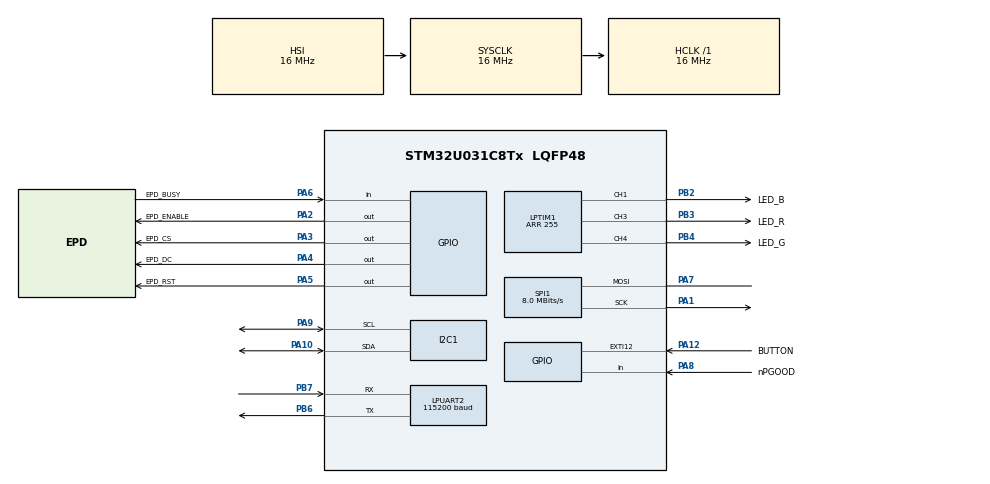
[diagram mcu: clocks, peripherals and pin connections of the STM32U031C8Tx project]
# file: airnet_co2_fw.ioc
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ADC1.Channel-0\#ChannelRegularConversion=ADC_CHANNEL_VBAT
ADC1.Channel-1\#ChannelRegularConversion=ADC_CHANNEL_VREFINT
ADC1.NbrOfConversion=2
ADC1.NbrOfConversionFlag=1
ADC1.Rank-0\#ChannelRegularConversion=1
ADC1.Rank-1\#ChannelRegularConversion=2
ADC1.RankArg-0\#ChannelRegularConversion=ADC_REGULAR_RANK_1
ADC1.RankArg-1\#ChannelRegularConversion=ADC_REGULAR_RANK_2
ADC1.SamplingTime-0\#ChannelRegularConversion=ADC_SAMPLINGTIME_COMMON_1
ADC1.SamplingTime-1\#ChannelRegularConversion=ADC_SAMPLINGTIME_COMMON_2
ADC1.SamplingTimeCommon1=ADC_SAMPLETIME_160CYCLES_5
ADC1.SamplingTimeCommon2=ADC_SAMPLETIME_160CYCLES_5
ADC1.SelectedChannel=ADC_CHANNEL_VREFINT|ADC_CHANNEL_VBAT
ADC1.master=1
I2C1.Timing=0x00303D5B
LPTIM1.ClockPrescaler=LPTIM_PRESCALER_DIV1
LPTIM1.OCPolarity_1=LPTIM_OCPOLARITY_LOW
LPTIM1.OCPolarity_3=LPTIM_OCPOLARITY_LOW
LPTIM1.OCPolarity_4=LPTIM_OCPOLARITY_LOW
LPTIM1.OCPulse_1=25
LPTIM1.OCPulse_3=25
LPTIM1.OCPulse_4=25
LPTIM1.Period=255
LPUART2.BaudRate=115200
Mcu.Family=STM32U0
Mcu.Name=STM32U031C8Tx
Mcu.Package=LQFP48
NVIC.EXTI4_15_IRQn=true\:0\:0\:false\:false\:true\:true\:true\:true
NVIC.PriorityGroup=NVIC_PRIORITYGROUP_2
NVIC.RTC_TAMP_IRQn=true\:0\:0\:false\:false\:true\:true\:true\:true
PA1.Mode=Simplex_Bidirectional_Master
PA1.Signal=SPI1_SCK
PA10.Mode=I2C
PA10.Signal=I2C1_SDA
PA12\ [PA10].GPIO_Label=BUTTON
PA12\ [PA10].GPIO_ModeDefaultEXTI=GPIO_MODE_IT_RISING_FALLING
PA12\ [PA10].Signal=GPXTI12
PA13\ (SWDIO).Mode=Serial_Wire
PA13\ (SWDIO).Signal=DEBUG_JTMS-SWDIO
PA14\ (SWCLK).Mode=Serial_Wire
PA14\ (SWCLK).Signal=DEBUG_JTCK-SWCLK
PA2.GPIO_Label=EPD_ENABLE
PA2.Signal=GPIO_Output
PA3.GPIO_Label=EPD_CS
PA3.Signal=GPIO_Output
PA4.GPIO_Label=EPD_DC
PA4.Signal=GPIO_Output
PA5.GPIO_Label=EPD_RST
PA5.Signal=GPIO_Output
PA6.GPIO_Label=EPD_BUSY
PA6.Signal=GPIO_Input
PA7.Mode=Simplex_Bidirectional_Master
PA7.Signal=SPI1_MOSI
PA8.GPIO_Label=nPGOOD
PA8.Signal=GPIO_Input
PA9.Mode=I2C
PA9.Signal=I2C1_SCL
PB2.GPIO_Label=LED_B
PB2.Signal=S_LPTIM1_CH1
PB3.GPIO_Label=LED_R
PB3.Signal=S_LPTIM1_CH3
PB4.GPIO_Label=LED_G
PB4.Signal=S_LPTIM1_CH4
PB6.Mode=Asynchronous
PB6.Signal=LPUART2_TX
PB7.Mode=Asynchronous
PB7.Signal=LPUART2_RX
ProjectManager.HeapSize=0x200
ProjectManager.StackSize=0x400
ProjectManager.TargetToolchain=Makefile
RCC.AHBFreq_Value=16000000
RCC.CortexFreq_Value=16000000
RCC.HCLKFreq_Value=16000000
RCC.HSE_VALUE=4000000
RCC.HSI48_VALUE=48000000
RCC.HSI_VALUE=16000000
RCC.LPTIM1CLockSelection=RCC_LPTIM1CLKSOURCE_LSI
RCC.LSE_VALUE=32768
RCC.MSI_VALUE=4000000
RCC.SYSCLKFreq_VALUE=16000000
RCC.VCOOutputFreq_Value=64000000
RTC.BinMode=RTC_BINARY_ONLY
RTC.WakeUpClock-WakeUp=RTC_WAKEUPCLOCK_CK_SPRE_16BITS
SH.S_LPTIM1_CH1.0=LPTIM1_CH1,OutputIO_CH1
SH.S_LPTIM1_CH3.0=LPTIM1_CH3,OutputIO_CH3
SH.S_LPTIM1_CH4.0=LPTIM1_CH4,OutputIO_CH4
SPI1.BaudRatePrescaler=SPI_BAUDRATEPRESCALER_2
SPI1.CalculateBaudRate=8.0 MBits/s
SPI1.DataSize=SPI_DATASIZE_8BIT
SPI1.Direction=SPI_DIRECTION_1LINE
SPI1.Mode=SPI_MODE_MASTER
SPI1.VirtualType=VM_MASTER
VP_ADC1_Vbat_Input.Mode=IN-Vbat
VP_ADC1_Vref_Input.Mode=IN-Vrefint
VP_LPTIM1_VS_CH1.Mode=Channel_1_Active
VP_LPTIM1_VS_CH3.Mode=Channel_3_Active
VP_LPTIM1_VS_CH4.Mode=Channel_4_Active
VP_LPTIM1_VS_LPTIM_counterModeInternalClock.Mode=Counts__internal_clock_event_00
VP_PWR_VS_SECSignals.Mode=Security/Privilege
VP_RTC_VS_RTC_Activate.Mode=RTC_Enabled
VP_RTC_VS_RTC_WakeUp_intern.Mode=WakeUp
board=custom

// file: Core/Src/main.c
/* USER CODE BEGIN Header */
/**
  ******************************************************************************
  * @file           : main.c
  * @brief          : Main program body
  ******************************************************************************
  * @attention
  *
  * Copyright (c) 2026 STMicroelectronics.
  * All rights reserved.
  *
  * This software is licensed under terms that can be found in the LICENSE file
  * in the root directory of this software component.
  * If no LICENSE file comes with this software, it is provided AS-IS.
  *
  ******************************************************************************
  */
/* USER CODE END Header */
#include "main.h"

/* USER CODE BEGIN Includes */
#include <stdio.h>

#include "skin.h"
#include "menu.h"
#include "button_menu.h"
#include "rgb_led.h"

#include "stcc4_i2c.h"
#include "sensirion_i2c_hal.h"
#include "sensirion_common.h"

#include "EPD_1in54_V2.h"
#include "GUI_Paint.h"

/* USER CODE END Includes */

ADC_HandleTypeDef hadc1;

I2C_HandleTypeDef hi2c1;

LPTIM_HandleTypeDef hlptim1;

UART_HandleTypeDef hlpuart2;

RTC_HandleTypeDef hrtc;

SPI_HandleTypeDef hspi1;

/* USER CODE BEGIN PV */

volatile uint32_t g_ts_ms_last_button_pressed = 0;
volatile uint32_t g_ts_ms_previous_button_pressed = 0;
volatile int g_button_pressed_flag = 0;
volatile struct button_fsm g_button_fsm;
uint16_t g_co2_ppm = 0;

uint8_t gImage[5000];

/* USER CODE END PV */

void SystemClock_Config(void);
static void MX_GPIO_Init(void);
static void MX_ADC1_Init(void);
static void MX_I2C1_Init(void);
static void MX_RTC_Init(void);
static void MX_SPI1_Init(void);
static void MX_LPUART2_UART_Init(void);
static void MX_LPTIM1_Init(void);

/* USER CODE BEGIN 0 */

#ifdef DEBUG_PRINT
int __io_putchar(int ch)
{
  HAL_UART_Transmit(&hlpuart2, (uint8_t *) &ch, 1, 1000);
  return ch;
}
#endif  /* DEBUG_PRINT */

void set_refresh_rate(int refresh_rate_sec)
{
  HAL_RTCEx_DeactivateWakeUpTimer(&hrtc);

  printf("Setting RTC wake up to %d seconds\n", refresh_rate_sec);
  HAL_RTCEx_SetWakeUpTimer_IT(&hrtc, refresh_rate_sec - 1,
                              RTC_WAKEUPCLOCK_CK_SPRE_16BITS, 0);
}

void led_all_off(void)
{
  rgb_led_off();
}

static void led_roll(int per_led_delay_ms, int iterations)
{
  for (int i = 0 ; i < iterations ; i++) {
    rgb_led_set_color(255, 0, 0);
    HAL_Delay(per_led_delay_ms);
    rgb_led_set_color(0, 255, 0);
    HAL_Delay(per_led_delay_ms);
    rgb_led_set_color(0, 0, 255);
    HAL_Delay(per_led_delay_ms);
    rgb_led_off();
  }
}

static inline void epd_power_on(void)
{
#ifndef DEBUG_NO_EPD
  HAL_GPIO_WritePin(EPD_ENABLE_GPIO_Port, EPD_ENABLE_Pin, GPIO_PIN_SET);
#endif  /* not DEBUG_NO_EPD */
}

static inline void epd_power_off(void)
{
#ifndef DEBUG_NO_EPD
  HAL_GPIO_WritePin(EPD_ENABLE_GPIO_Port, EPD_ENABLE_Pin, GPIO_PIN_RESET);
#endif  /* not DEBUG_NO_EPD */
}

static void epd_wait_busy_led(void)
{
  /* LOW: idle, HIGH: busy */
  while(HAL_GPIO_ReadPin(EPD_BUSY_GPIO_Port, EPD_BUSY_Pin) == 1) {
      led_roll(100, 1);
  }
}

uint32_t rtc_get_tick(void)
{
  RTC_TimeTypeDef time;
  if (HAL_RTC_GetTime(&hrtc, &time, 0) != HAL_OK) {
    printf("Error get time\n");
  }
  return UINT32_MAX - time.SubSeconds;
}

uint32_t rtc_ticks_to_ms(uint32_t ticks)
{
  return ticks * ((1000 * (127 + 1)) / 32000);
}

uint32_t rtc_get_ms(void)
{
  return rtc_ticks_to_ms(rtc_get_tick());
}

void HAL_GPIO_EXTI_Falling_Callback(uint16_t GPIO_Pin)
{
  if (GPIO_Pin == BUTTON_Pin) {
    uint32_t ts = rtc_get_ms();
    button_isr(&g_button_fsm, 0, ts);

    g_ts_ms_previous_button_pressed = g_ts_ms_last_button_pressed;
    g_ts_ms_last_button_pressed = ts;
    g_button_pressed_flag = 1;
  }
}

void HAL_GPIO_EXTI_Rising_Callback(uint16_t GPIO_Pin)
{
  if (GPIO_Pin == BUTTON_Pin) {
    button_isr(&g_button_fsm, 1, rtc_get_ms());
  }
}

static void draw_logo(uint8_t *image) {
  UNUSED(image);
  int y_pos = 50;
  Paint_DrawString_j(4, y_pos, "AirNet", &Airnet40NotoSansSemiCondensedBoldItalic,
                     -3, BLACK, WHITE);
  Paint_DrawString_j(111, y_pos-7, "CO²", &CO253NotoSansExtraBold,
                     -2, BLACK, WHITE);
}

void DEV_SPI_WriteByte(UBYTE value)
{
#ifndef DEBUG_NO_EPD
  HAL_StatusTypeDef status;
  status = HAL_SPI_Transmit(&hspi1, &value, 1, 1000);
  if (status != HAL_OK) {
    printf("Error DEV_SPI_WriteByte HAL_SPI_Transmit %d\n", status);
  }
#else
  UNUSED(value);
#endif  /* not DEBUG_NO_EPD */
}

static void enter_stop2(void)
{
  /* TODO: Set GPIO to analog */
  HAL_SuspendTick();
  HAL_PWREx_EnableUltraLowPowerMode();
  HAL_PWREx_EnterSTOP2Mode(PWR_STOPENTRY_WFI);

  /* Stop 2 */

  SystemClock_Config();
  HAL_ResumeTick();
  /* TODO: reconfigure GPIO */
}

static void read_data_and_draw(int display)
{
  uint32_t ts_ms;
  uint32_t ts_ms_start;
  int16_t err = 0;

  uint16_t co2_ppm = 0;
  uint32_t temperature = 0;
  uint32_t humidity = 0;
  uint32_t vbat_mv = 0;

  int16_t co2_concentration_raw = 0;
  uint16_t temperature_raw = 0;
  uint16_t relative_humidity_raw = 0;
  uint16_t sensor_status_raw = 0;
  uint32_t adc_val;
  uint32_t vrefint_val;
  uint32_t vdda_mv;

  ts_ms_start = rtc_get_ms();   /* t = 0 ms */

  /* Exit STCC4 sleep */
  err = stcc4_exit_sleep_mode_nowait(); /* Must wait 5 ms */
  ts_ms = rtc_get_ms();
  if (err != NO_ERROR) {
    printf("Error stcc4_exit_sleep_mode\n");
    Error_Handler();
  }

  /* Start reading bat voltage (rank 1: VBAT, rank 2: VREFINT) */
  if (HAL_ADC_Start(&hadc1) != HAL_OK)
  {
      Error_Handler();
  }

  HAL_ADC_PollForConversion(&hadc1, 10000);
  adc_val = HAL_ADC_GetValue(&hadc1);

  HAL_ADC_PollForConversion(&hadc1, 10000);
  vrefint_val = HAL_ADC_GetValue(&hadc1);
  HAL_ADC_Stop(&hadc1);

  /* Compute the actual VDDA (mV) from the VREFINT reading and the factory
   * calibration value, instead of assuming a fixed VDDA */
  vdda_mv = __LL_ADC_CALC_VREFANALOG_VOLTAGE(vrefint_val, LL_ADC_RESOLUTION_12B);
  vbat_mv = (adc_val * 3 * vdda_mv) / 4095;
  printf("adc %ld vrefint %ld vdda %ld mV vbat %ld mV %ld ms\n", adc_val, vrefint_val, vdda_mv, vbat_mv, rtc_get_ms());

  /* Wait exit sleep done */
  while (rtc_get_ms() - ts_ms < 5) {
    printf("wait exit sleep %ld\n", rtc_get_ms() - ts_ms);
  }
  /* t ~= 5 ms */

  /* Launch measure single shot */
  err = stcc4_measure_single_shot_nowait(); /* Must wait 500 ms */
  ts_ms = rtc_get_ms();
  if (err != NO_ERROR) {
    printf("Error stcc4_measure_single_shot\n");
    Error_Handler();
  }

  if (display) {
    TS(EPD_1IN54_V2_Init_Partial()); /* 524 ms Wake up */
  }

  /* Wait measure single done */
  while (rtc_get_ms() - ts_ms < 500) {
    printf("wait measure single %ld\n", rtc_get_ms() - ts_ms);
    HAL_Delay(25);
  }
  /* t ~= 530 ms */
  printf("t = %ld\n", rtc_get_ms() - ts_ms_start);

  /* Read measurement */
  err = stcc4_read_measurement_raw(&co2_concentration_raw, &temperature_raw,
                                   &relative_humidity_raw, &sensor_status_raw);
  if (err != NO_ERROR) {
#ifndef DEBUG_NO_SENSORS
    printf("Error stcc4_read_measurement_raw retrying in 150ms\n");
    HAL_Delay(150);
    err = stcc4_read_measurement_raw(&co2_concentration_raw, &temperature_raw,
                                     &relative_humidity_raw, &sensor_status_raw);
    if (err != NO_ERROR) {
      printf("Error stcc4_read_measurement_raw\n");
      Error_Handler();
    }
#endif    /*  not DEBUG_NO_SENSORS */
  }
  printf("t = %ld\n", rtc_get_ms() - ts_ms_start);

  /* Sleep sensor */
  err = stcc4_enter_sleep_mode_nowait(); /* Must wait 1 ms */
  if (err != NO_ERROR) {
    printf("Error stcc4_enter_sleep_mode\n");
  }

  co2_ppm = g_co2_ppm = co2_concentration_raw;
  temperature = ((175 * (uint32_t)temperature_raw) / 655) - 4500; /* in c°C */
  humidity = ((125 * (uint32_t)relative_humidity_raw) / 65535) - 6;
  printf("sensor: co2 is %02dppm.\n", co2_ppm);
  printf("sensor: temperature is %ld cC, 0x%lx\n", temperature, temperature);
  printf("sensor: humidity is %ld, 0x%lx\n", humidity, humidity);

  /* nPGOOD from battery charger, low when USB plugged */
  int powered = HAL_GPIO_ReadPin(nPGOOD_GPIO_Port, nPGOOD_Pin) ? 0 : 1;;

  TS(skin_update(g_conf.skin, gImage, co2_ppm, temperature, humidity, vbat_mv, powered, g_conf.debug_counter, g_conf.debug_bat_voltage)); /* 260 ms ! */

  rgb_led_display_co2_level(co2_ppm, g_conf.led_co2_ppm);

  printf("Loop duration : %ld ms\n", rtc_get_ms() - ts_ms_start);

}

/* USER CODE END 0 */

int main(void)
{

  /* USER CODE BEGIN 1 */

  uint32_t ts_ms_start = 0;
  uint32_t ts_ms_loop = 0;
  int16_t err = 0;
  uint32_t stcc4_product_id;
  uint64_t stcc4_sn;
  int full_refresh = 0;

  /* USER CODE END 1 */

  /* MCU Configuration--------------------------------------------------------*/

  /* Reset of all peripherals, Initializes the Flash interface and the Systick. */
  HAL_Init();

  /* Configure the system clock */
  SystemClock_Config();

  /* Initialize all configured peripherals */
  MX_GPIO_Init();
  MX_ADC1_Init();
  MX_I2C1_Init();
  MX_RTC_Init();
  MX_SPI1_Init();
  MX_LPUART2_UART_Init();
  MX_LPTIM1_Init();
  /* USER CODE BEGIN 2 */

  rgb_led_init();
  rgb_led_set_brightness((uint8_t)g_conf.led_brightness_percent);

  printf("\n\nHello from AirNet CO2 %ld ms\n", rtc_get_ms());

  button_init(&g_button_fsm);

  stcc4_init(STCC4_I2C_ADDR_64);

  if (stcc4_stop_continuous_measurement_nowait() != NO_ERROR) { /* 1200 ms wait */
    printf("error executing stop_continuous_measurement()\n");
    Error_Handler();
  }
  ts_ms_start = rtc_get_ms();
  /* Need to wait 1200 ms before next stcc4 cmd */

  /* Prepare image */
  Paint_NewImage(gImage, EPD_1IN54_V2_WIDTH, EPD_1IN54_V2_HEIGHT, WHITE);
  Paint_SelectImage(gImage);
  Paint_Clear(WHITE);
  draw_logo(gImage);
  Paint_DrawString_j((EPD_1IN54_V2_WIDTH-(sizeof(VERSION)-1)*font12.glyphs[0].width)/2,
		     130, VERSION, &font12, 0, BLACK, WHITE);

  /* Start screen */
  epd_power_on();
  printf("EPD init %ld ms\n", rtc_get_ms());
  EPD_1IN54_V2_Init();          /* 448 ms */
  EPD_1IN54_V2_DisplayAsync(gImage); /* 216 ms, 2040 ms read busy ok*/

  /* Wait STCC4 ready */
  while (rtc_get_ms() - ts_ms_start < 1200) {
    printf("STCC4 not ready %ld\n", rtc_get_ms() - ts_ms_start);
    led_roll(100, 1);
  }

  /* Now STCC4 should be ready */
  err = stcc4_get_product_id(&stcc4_product_id, &stcc4_sn);
  if (err != NO_ERROR) {
#ifndef DEBUG_NO_SENSORS
    printf("error reading stcc4 product_id\n");
    Error_Handler();
#endif    /*  not DEBUG_NO_SENSORS */
  }
  printf("stcc4 pid 0x%lx 0x%lx\n", stcc4_product_id, (uint32_t)stcc4_sn);

  /* Wait for screen to finish display image */
  epd_wait_busy_led();
  /* We are now around 2528 ms after ts_ms_start */

  /* Wait a bit more so image is visible */
  while (rtc_get_ms() < 4000) {
    led_roll(100, 1);
  }

  /* Prepare data display */
  TS(skin_prepare(g_conf.skin, gImage));     /* 12 ms */

  /* Do a first read and display */
  ts_ms_loop = rtc_get_ms();
  read_data_and_draw(0);

  /* Schedule RTC wake up */
  set_refresh_rate(g_conf.refresh_rate_sec);

  /* Display */
  EPD_1IN54_V2_DisplayPartBaseImage(gImage);

  enter_stop2();

  /* USER CODE END 2 */

  /* Infinite loop */
  /* USER CODE BEGIN WHILE */
  printf("\n\n");
  while (1)
  {

    if (BUTTON_GPIO_STATE() == 0
        && (rtc_get_ms() - g_ts_ms_last_button_pressed) > 900) {
      menu_enter();
      EPD_1IN54_V2_Init();
      full_refresh = 1;
      skin_prepare(g_conf.skin, gImage);
      /* continue; */
    }

    if ((rtc_get_ms() - ts_ms_loop) < (uint32_t)(g_conf.refresh_rate_sec  * 1000)) {
      printf("Looped to soon skip\n");
      HAL_Delay(10);
      continue;
    }

    /* USER CODE END WHILE */

    /* USER CODE BEGIN 3 */

    ts_ms_loop = rtc_get_ms();
    printf("\n\n");

    read_data_and_draw(full_refresh ? 0 : 1);

    epd_power_on();
    //EPD_1IN54_V2_Init_Partial(); /* Wake up */
    printf("EPD init partial done %ld ms\n", rtc_get_ms());
    uint32_t ts_disp_start = rtc_get_ms();
    if (full_refresh) {
      full_refresh = 0;
      EPD_1IN54_V2_DisplayPartBaseImage(gImage);
      EPD_1IN54_V2_Init_Partial();
    }
    EPD_1IN54_V2_DisplayPart(gImage); /* 812 ms */
    printf("EPD display done %ld ms (%ld ms)\n", rtc_get_ms(),
	   rtc_get_ms() - ts_disp_start);
    printf("EPD sleep %ld ms\n", rtc_get_ms());
    EPD_1IN54_V2_Sleep();
    //epd_power_off();

    /* Going to sleep */
    printf("Going sleep 2 %ld ms\n", rtc_get_ms());
    enter_stop2();

  }
  /* USER CODE END 3 */
}

void SystemClock_Config(void)
{
  RCC_OscInitTypeDef RCC_OscInitStruct = {0};
  RCC_ClkInitTypeDef RCC_ClkInitStruct = {0};

  /** Configure the main internal regulator output voltage
  */
  HAL_PWREx_ControlVoltageScaling(PWR_REGULATOR_VOLTAGE_SCALE2);

  /** Initializes the RCC Oscillators according to the specified parameters
  * in the RCC_OscInitTypeDef structure.
  */
  RCC_OscInitStruct.OscillatorType = RCC_OSCILLATORTYPE_HSI|RCC_OSCILLATORTYPE_LSI;
  RCC_OscInitStruct.HSIState = RCC_HSI_ON;
  RCC_OscInitStruct.HSICalibrationValue = RCC_HSICALIBRATION_DEFAULT;
  RCC_OscInitStruct.LSIState = RCC_LSI_ON;
  RCC_OscInitStruct.PLL.PLLState = RCC_PLL_NONE;
  if (HAL_RCC_OscConfig(&RCC_OscInitStruct) != HAL_OK)
  {
    Error_Handler();
  }

  /** Initializes the CPU, AHB and APB buses clocks
  */
  RCC_ClkInitStruct.ClockType = RCC_CLOCKTYPE_HCLK|RCC_CLOCKTYPE_SYSCLK
                              |RCC_CLOCKTYPE_PCLK1;
  RCC_ClkInitStruct.SYSCLKSource = RCC_SYSCLKSOURCE_HSI;
  RCC_ClkInitStruct.AHBCLKDivider = RCC_SYSCLK_DIV1;
  RCC_ClkInitStruct.APB1CLKDivider = RCC_HCLK_DIV1;

  if (HAL_RCC_ClockConfig(&RCC_ClkInitStruct, FLASH_LATENCY_1) != HAL_OK)
  {
    Error_Handler();
  }
}

static void MX_ADC1_Init(void)
{

  ADC_ChannelConfTypeDef sConfig = {0};

  /** Configure the global features of the ADC (Clock, Resolution, Data Alignment and number of conversion)
  */
  hadc1.Instance = ADC1;
  hadc1.Init.ClockPrescaler = ADC_CLOCK_SYNC_PCLK_DIV1;
  hadc1.Init.Resolution = ADC_RESOLUTION_12B;
  hadc1.Init.DataAlign = ADC_DATAALIGN_RIGHT;
  hadc1.Init.ScanConvMode = ADC_SCAN_ENABLE;
  hadc1.Init.EOCSelection = ADC_EOC_SINGLE_CONV;
  hadc1.Init.LowPowerAutoWait = DISABLE;
  hadc1.Init.LowPowerAutoPowerOff = DISABLE;
  hadc1.Init.ContinuousConvMode = DISABLE;
  hadc1.Init.NbrOfConversion = 2;
  hadc1.Init.DiscontinuousConvMode = DISABLE;
  hadc1.Init.ExternalTrigConv = ADC_SOFTWARE_START;
  hadc1.Init.ExternalTrigConvEdge = ADC_EXTERNALTRIGCONVEDGE_NONE;
  hadc1.Init.DMAContinuousRequests = DISABLE;
  hadc1.Init.Overrun = ADC_OVR_DATA_PRESERVED;
  hadc1.Init.SamplingTimeCommon1 = ADC_SAMPLETIME_160CYCLES_5;
  hadc1.Init.SamplingTimeCommon2 = ADC_SAMPLETIME_160CYCLES_5;
  hadc1.Init.OversamplingMode = DISABLE;
  hadc1.Init.TriggerFrequencyMode = ADC_TRIGGER_FREQ_HIGH;
  if (HAL_ADC_Init(&hadc1) != HAL_OK)
  {
    Error_Handler();
  }

  /** Configure Regular Channel
  */
  sConfig.Channel = ADC_CHANNEL_VBAT;
  sConfig.Rank = ADC_REGULAR_RANK_1;
  sConfig.SamplingTime = ADC_SAMPLINGTIME_COMMON_1;
  if (HAL_ADC_ConfigChannel(&hadc1, &sConfig) != HAL_OK)
  {
    Error_Handler();
  }

  /** Configure Regular Channel
  */
  sConfig.Channel = ADC_CHANNEL_VREFINT;
  sConfig.Rank = ADC_REGULAR_RANK_2;
  sConfig.SamplingTime = ADC_SAMPLINGTIME_COMMON_2;
  if (HAL_ADC_ConfigChannel(&hadc1, &sConfig) != HAL_OK)
  {
    Error_Handler();
  }
  /* USER CODE BEGIN ADC1_Init 2 */

  /** Run the self calibration to remove ADC offset/gain error
   */
  if (HAL_ADCEx_Calibration_Start(&hadc1) != HAL_OK)
  {
    Error_Handler();
  }

  /* USER CODE END ADC1_Init 2 */

}

static void MX_I2C1_Init(void)
{

  /* USER CODE BEGIN I2C1_Init 0 */

#ifdef DEBUG_NO_SENSORS
  /* Put I2C pin in analog to save power */
  GPIO_InitTypeDef GPIO_InitStruct = {0};
  GPIO_InitStruct.Pin = GPIO_PIN_9|GPIO_PIN_10;
  GPIO_InitStruct.Mode = GPIO_MODE_ANALOG;
  GPIO_InitStruct.Pull = GPIO_NOPULL;
  HAL_GPIO_Init(GPIOA, &GPIO_InitStruct);
  return;
#endif /* DEBUG_NO_SENSORS */

  /* USER CODE END I2C1_Init 0 */

  hi2c1.Instance = I2C1;
  hi2c1.Init.Timing = 0x00303D5B;
  hi2c1.Init.OwnAddress1 = 0;
  hi2c1.Init.AddressingMode = I2C_ADDRESSINGMODE_7BIT;
  hi2c1.Init.DualAddressMode = I2C_DUALADDRESS_DISABLE;
  hi2c1.Init.OwnAddress2 = 0;
  hi2c1.Init.OwnAddress2Masks = I2C_OA2_NOMASK;
  hi2c1.Init.GeneralCallMode = I2C_GENERALCALL_DISABLE;
  hi2c1.Init.NoStretchMode = I2C_NOSTRETCH_DISABLE;
  if (HAL_I2C_Init(&hi2c1) != HAL_OK)
  {
    Error_Handler();
  }

  /** Configure Analogue filter
  */
  if (HAL_I2CEx_ConfigAnalogFilter(&hi2c1, I2C_ANALOGFILTER_ENABLE) != HAL_OK)
  {
    Error_Handler();
  }

  /** Configure Digital filter
  */
  if (HAL_I2CEx_ConfigDigitalFilter(&hi2c1, 0) != HAL_OK)
  {
    Error_Handler();
  }

}

static void MX_LPTIM1_Init(void)
{

  LPTIM_OC_ConfigTypeDef sConfig1 = {0};

  hlptim1.Instance = LPTIM1;
  hlptim1.Init.Clock.Source = LPTIM_CLOCKSOURCE_APBCLOCK_LPOSC;
  hlptim1.Init.Clock.Prescaler = LPTIM_PRESCALER_DIV1;
  hlptim1.Init.Trigger.Source = LPTIM_TRIGSOURCE_SOFTWARE;
  hlptim1.Init.Period = 255;
  hlptim1.Init.UpdateMode = LPTIM_UPDATE_IMMEDIATE;
  hlptim1.Init.CounterSource = LPTIM_COUNTERSOURCE_INTERNAL;
  hlptim1.Init.Input1Source = LPTIM_INPUT1SOURCE_GPIO;
  hlptim1.Init.Input2Source = LPTIM_INPUT2SOURCE_GPIO;
  hlptim1.Init.RepetitionCounter = 0;
  if (HAL_LPTIM_Init(&hlptim1) != HAL_OK)
  {
    Error_Handler();
  }
  sConfig1.Pulse = 25;
  sConfig1.OCPolarity = LPTIM_OCPOLARITY_LOW;
  if (HAL_LPTIM_OC_ConfigChannel(&hlptim1, &sConfig1, LPTIM_CHANNEL_1) != HAL_OK)
  {
    Error_Handler();
  }
  if (HAL_LPTIM_OC_ConfigChannel(&hlptim1, &sConfig1, LPTIM_CHANNEL_3) != HAL_OK)
  {
    Error_Handler();
  }
  if (HAL_LPTIM_OC_ConfigChannel(&hlptim1, &sConfig1, LPTIM_CHANNEL_4) != HAL_OK)
  {
    Error_Handler();
  }
  HAL_LPTIM_MspPostInit(&hlptim1);

}

static void MX_LPUART2_UART_Init(void)
{

  hlpuart2.Instance = LPUART2;
  hlpuart2.Init.BaudRate = 115200;
  hlpuart2.Init.WordLength = UART_WORDLENGTH_8B;
  hlpuart2.Init.StopBits = UART_STOPBITS_1;
  hlpuart2.Init.Parity = UART_PARITY_NONE;
  hlpuart2.Init.Mode = UART_MODE_TX_RX;
  hlpuart2.Init.HwFlowCtl = UART_HWCONTROL_NONE;
  hlpuart2.Init.OneBitSampling = UART_ONE_BIT_SAMPLE_DISABLE;
  hlpuart2.AdvancedInit.AdvFeatureInit = UART_ADVFEATURE_NO_INIT;
  hlpuart2.FifoMode = UART_FIFOMODE_DISABLE;
  if (HAL_UART_Init(&hlpuart2) != HAL_OK)
  {
    Error_Handler();
  }
  if (HAL_UARTEx_SetTxFifoThreshold(&hlpuart2, UART_TXFIFO_THRESHOLD_1_8) != HAL_OK)
  {
    Error_Handler();
  }
  if (HAL_UARTEx_SetRxFifoThreshold(&hlpuart2, UART_RXFIFO_THRESHOLD_1_8) != HAL_OK)
  {
    Error_Handler();
  }
  if (HAL_UARTEx_DisableFifoMode(&hlpuart2) != HAL_OK)
  {
    Error_Handler();
  }

}

static void MX_RTC_Init(void)
{

  /** Initialize RTC Only
  */
  hrtc.Instance = RTC;
  hrtc.Init.AsynchPrediv = 127;
  hrtc.Init.OutPut = RTC_OUTPUT_DISABLE;
  hrtc.Init.OutPutRemap = RTC_OUTPUT_REMAP_NONE;
  hrtc.Init.OutPutPolarity = RTC_OUTPUT_POLARITY_HIGH;
  hrtc.Init.OutPutType = RTC_OUTPUT_TYPE_OPENDRAIN;
  hrtc.Init.OutPutPullUp = RTC_OUTPUT_PULLUP_NONE;
  hrtc.Init.BinMode = RTC_BINARY_ONLY;
  if (HAL_RTC_Init(&hrtc) != HAL_OK)
  {
    Error_Handler();
  }

  /** Enable the WakeUp
  */
  if (HAL_RTCEx_SetWakeUpTimer_IT(&hrtc, 0, RTC_WAKEUPCLOCK_CK_SPRE_16BITS, 0) != HAL_OK)
  {
    Error_Handler();
  }

}

static void MX_SPI1_Init(void)
{

  /* USER CODE BEGIN SPI1_Init 0 */

#ifdef DEBUG_NO_EPD
  /* Put SPI pin + in analog to save power */
  GPIO_InitTypeDef GPIO_InitStruct = {0};
  GPIO_InitStruct.Pin = GPIO_PIN_1|GPIO_PIN_7|EPD_ENABLE_Pin|EPD_CS_Pin|EPD_DC_Pin|EPD_RST_Pin|EPD_BUSY_Pin;
  GPIO_InitStruct.Mode = GPIO_MODE_ANALOG;
  GPIO_InitStruct.Pull = GPIO_NOPULL;
  HAL_GPIO_Init(GPIOA, &GPIO_InitStruct);
  return;
#endif /* DEBUG_NO_EPD */

  /* USER CODE END SPI1_Init 0 */

  /* SPI1 parameter configuration*/
  hspi1.Instance = SPI1;
  hspi1.Init.Mode = SPI_MODE_MASTER;
  hspi1.Init.Direction = SPI_DIRECTION_1LINE;
  hspi1.Init.DataSize = SPI_DATASIZE_8BIT;
  hspi1.Init.CLKPolarity = SPI_POLARITY_LOW;
  hspi1.Init.CLKPhase = SPI_PHASE_1EDGE;
  hspi1.Init.NSS = SPI_NSS_SOFT;
  hspi1.Init.BaudRatePrescaler = SPI_BAUDRATEPRESCALER_2;
  hspi1.Init.FirstBit = SPI_FIRSTBIT_MSB;
  hspi1.Init.TIMode = SPI_TIMODE_DISABLE;
  hspi1.Init.CRCCalculation = SPI_CRCCALCULATION_DISABLE;
  hspi1.Init.CRCPolynomial = 7;
  hspi1.Init.CRCLength = SPI_CRC_LENGTH_DATASIZE;
  hspi1.Init.NSSPMode = SPI_NSS_PULSE_ENABLE;
  if (HAL_SPI_Init(&hspi1) != HAL_OK)
  {
    Error_Handler();
  }

}

static void MX_GPIO_Init(void)
{
  GPIO_InitTypeDef GPIO_InitStruct = {0};

  /* GPIO Ports Clock Enable */
  __HAL_RCC_GPIOC_CLK_ENABLE();
  __HAL_RCC_GPIOF_CLK_ENABLE();
  __HAL_RCC_GPIOA_CLK_ENABLE();
  __HAL_RCC_GPIOB_CLK_ENABLE();

  /*Configure GPIO pin Output Level */
  HAL_GPIO_WritePin(GPIOA, EPD_ENABLE_Pin|EPD_CS_Pin|EPD_DC_Pin|EPD_RST_Pin, GPIO_PIN_RESET);

  /*Configure GPIO pins : PC13 PC14 PC15 */
  GPIO_InitStruct.Pin = GPIO_PIN_13|GPIO_PIN_14|GPIO_PIN_15;
  GPIO_InitStruct.Mode = GPIO_MODE_ANALOG;
  GPIO_InitStruct.Pull = GPIO_NOPULL;
  HAL_GPIO_Init(GPIOC, &GPIO_InitStruct);

  /*Configure GPIO pins : PF0 PF1 PF2 PF3 */
  GPIO_InitStruct.Pin = GPIO_PIN_0|GPIO_PIN_1|GPIO_PIN_2|GPIO_PIN_3;
  GPIO_InitStruct.Mode = GPIO_MODE_ANALOG;
  GPIO_InitStruct.Pull = GPIO_NOPULL;
  HAL_GPIO_Init(GPIOF, &GPIO_InitStruct);

  /*Configure GPIO pins : PA0 PA11 PA15 */
  GPIO_InitStruct.Pin = GPIO_PIN_0|GPIO_PIN_11|GPIO_PIN_15;
  GPIO_InitStruct.Mode = GPIO_MODE_ANALOG;
  GPIO_InitStruct.Pull = GPIO_NOPULL;
  HAL_GPIO_Init(GPIOA, &GPIO_InitStruct);

  /*Configure GPIO pins : EPD_ENABLE_Pin EPD_CS_Pin EPD_DC_Pin EPD_RST_Pin */
  GPIO_InitStruct.Pin = EPD_ENABLE_Pin|EPD_CS_Pin|EPD_DC_Pin|EPD_RST_Pin;
  GPIO_InitStruct.Mode = GPIO_MODE_OUTPUT_PP;
  GPIO_InitStruct.Pull = GPIO_NOPULL;
  GPIO_InitStruct.Speed = GPIO_SPEED_FREQ_LOW;
  HAL_GPIO_Init(GPIOA, &GPIO_InitStruct);

  /*Configure GPIO pins : EPD_BUSY_Pin nPGOOD_Pin */
  GPIO_InitStruct.Pin = EPD_BUSY_Pin|nPGOOD_Pin;
  GPIO_InitStruct.Mode = GPIO_MODE_INPUT;
  GPIO_InitStruct.Pull = GPIO_NOPULL;
  HAL_GPIO_Init(GPIOA, &GPIO_InitStruct);

  /*Configure GPIO pins : PB0 PB1 PB10 PB11
                           PB12 PB13 PB14 PB15
                           PB5 PB8 PB9 */
  GPIO_InitStruct.Pin = GPIO_PIN_0|GPIO_PIN_1|GPIO_PIN_10|GPIO_PIN_11
                          |GPIO_PIN_12|GPIO_PIN_13|GPIO_PIN_14|GPIO_PIN_15
                          |GPIO_PIN_5|GPIO_PIN_8|GPIO_PIN_9;
  GPIO_InitStruct.Mode = GPIO_MODE_ANALOG;
  GPIO_InitStruct.Pull = GPIO_NOPULL;
  HAL_GPIO_Init(GPIOB, &GPIO_InitStruct);

  /*Configure GPIO pin : BUTTON_Pin */
  GPIO_InitStruct.Pin = BUTTON_Pin;
  GPIO_InitStruct.Mode = GPIO_MODE_IT_RISING_FALLING;
  GPIO_InitStruct.Pull = GPIO_NOPULL;
  HAL_GPIO_Init(BUTTON_GPIO_Port, &GPIO_InitStruct);

  /* EXTI interrupt init*/
  HAL_NVIC_SetPriority(EXTI4_15_IRQn, 0, 0);
  HAL_NVIC_EnableIRQ(EXTI4_15_IRQn);

}

void Error_Handler(void)
{
  /* USER CODE BEGIN Error_Handler_Debug */
  /* User can add his own implementation to report the HAL error return state */
  __disable_irq();
  while (1)
  {
    rgb_led_set_color(255, 0, 0);
    HAL_Delay(300);
    rgb_led_off();
    HAL_Delay(300);
    printf("error handler\n");
  }
  /* USER CODE END Error_Handler_Debug */
}
